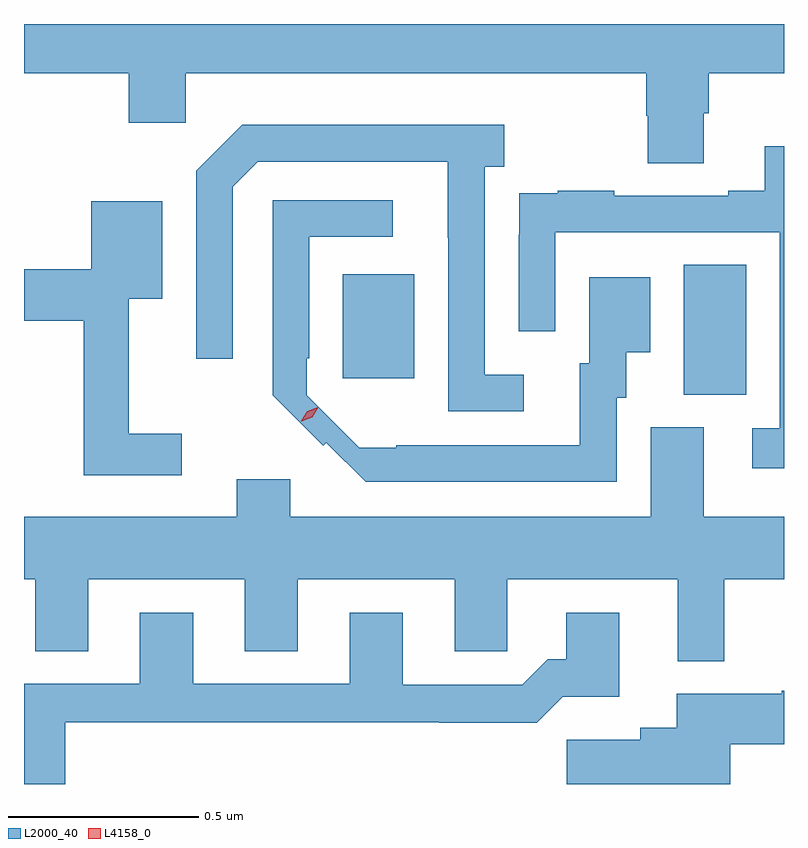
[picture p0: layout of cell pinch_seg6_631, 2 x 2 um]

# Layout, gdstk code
import gdstk
lib = gdstk.Library(unit=1e-6, precision=1e-09)
def R(c, l, rs):  # rectangles x0, y0, x1, y1
    for r in rs: c.add(gdstk.rectangle(r[:2], r[2:], *l))
def P(c, l, *ps):  # polygons
    for p in ps: c.add(gdstk.Polygon(p, *l))
L2000_40 = (2000, 40)
L4158_0 = (4158, 0)

pinch_seg6_631 = lib.new_cell('pinch_seg6_631')
R(pinch_seg6_631, L2000_40, [(493.478,985.117,493.642,985.46), (492.581,985.161,492.769,985.435)])
P(pinch_seg6_631, L2000_40, [(493.531,985.858),(493.544,985.858),(493.544,985.964),(493.742,985.964),(493.742,986.093),(491.742,986.093),(491.742,985.964),(492.017,985.964),(492.017,985.833),(492.168,985.833),(492.168,985.964),(493.379,985.964),(493.379,985.851),(493.384,985.851),(493.384,985.726),(493.531,985.726)],
  [(493.057,985.17),(492.954,985.17),(492.954,985.718),(493.006,985.718),(493.006,985.828),(492.316,985.828),(492.195,985.707),(492.195,985.212),(492.291,985.212),(492.291,985.665),(492.357,985.731),(492.857,985.731),(492.857,985.531),(492.858,985.531),(492.858,985.074),(493.057,985.074)],
  [(493.742,985.771),(493.691,985.771),(493.691,985.654),(493.595,985.654),(493.595,985.641),(493.295,985.641),(493.295,985.654),(493.147,985.654),(493.147,985.647),(493.045,985.647),(493.045,985.538),(493.044,985.538),(493.044,985.284),(493.14,985.284),(493.14,985.545),(493.731,985.545),(493.731,985.029),(493.659,985.029),(493.659,984.924),(493.742,984.924)],
  [(493.302,985.11),(493.327,985.11),(493.327,985.229),(493.39,985.229),(493.39,985.426),(493.229,985.426),(493.229,985.2),(493.205,985.2),(493.205,984.984),(492.721,984.984),(492.721,984.978),(492.624,984.978),(492.486,985.116),(492.486,985.213),(492.492,985.213),(492.492,985.533),(492.712,985.533),(492.712,985.629),(492.396,985.629),(492.396,985.116),(492.507,985.005),(492.53,984.983),(492.538,984.991),(492.641,984.888),(493.302,984.888)],
  [(492.157,985.015),(492.017,985.015),(492.017,985.37),(492.106,985.37),(492.106,985.627),(491.919,985.627),(491.919,985.448),(491.742,985.448),(491.742,985.312),(491.899,985.312),(491.899,984.906),(492.157,984.906)],
  [(493.585,984.632),(493.742,984.632),(493.742,984.796),(493.531,984.796),(493.531,985.032),(493.391,985.032),(493.391,984.796),(492.442,984.796),(492.442,984.895),(492.302,984.895),(492.302,984.796),(491.742,984.796),(491.742,984.632),(491.771,984.632),(491.771,984.442),(491.911,984.442),(491.911,984.632),(492.323,984.632),(492.323,984.442),(492.463,984.442),(492.463,984.632),(492.875,984.632),(492.875,984.442),(493.014,984.442),(493.014,984.632),(493.463,984.632),(493.463,984.416),(493.585,984.416)],
  [(491.851,984.256),(492.835,984.256),(492.835,984.254),(493.091,984.254),(493.16,984.323),(493.309,984.323),(493.309,984.544),(493.169,984.544),(493.169,984.421),(493.12,984.421),(493.053,984.354),(492.739,984.354),(492.739,984.544),(492.599,984.544),(492.599,984.357),(492.187,984.357),(492.187,984.544),(492.047,984.544),(492.047,984.357),(491.742,984.357),(491.742,984.093),(491.851,984.093)],
  [(493.6,984.197),(493.742,984.197),(493.742,984.339),(493.736,984.339),(493.736,984.331),(493.46,984.331),(493.46,984.241),(493.364,984.241),(493.364,984.209),(493.17,984.209),(493.17,984.093),(493.6,984.093)])
P(pinch_seg6_631, L4158_0, [(492.472,985.048),(492.472,985.049),(492.488,985.074),(492.515,985.084),(492.516,985.084),(492.516,985.084),(492.5,985.058),(492.473,985.048)])

lib.write_gds('pinch_seg6_631.gds')
